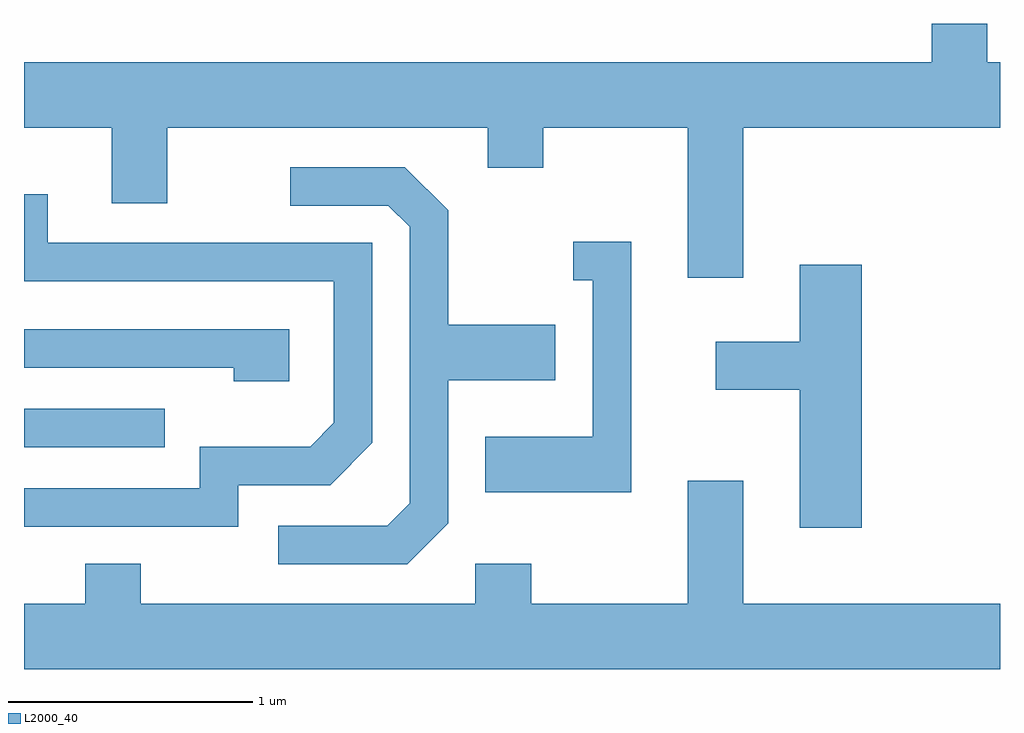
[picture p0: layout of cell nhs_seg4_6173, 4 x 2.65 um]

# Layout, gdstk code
import gdstk
lib = gdstk.Library(unit=1e-6, precision=1e-09)
def R(c, l, rs):  # rectangles x0, y0, x1, y1
    for r in rs: c.add(gdstk.rectangle(r[:2], r[2:], *l))
def P(c, l, *ps):  # polygons
    for p in ps: c.add(gdstk.Polygon(p, *l))
L2000_40 = (2000, 40)

nhs_seg4_6173 = lib.new_cell('nhs_seg4_6173')
R(nhs_seg4_6173, L2000_40, [(365.611,1362.246,366.188,1362.404)])
P(nhs_seg4_6173, L2000_40, [(368.559,1363.556),(369.611,1363.556),(369.611,1363.824),(369.559,1363.824),(369.559,1363.982),(369.331,1363.982),(369.331,1363.824),(365.611,1363.824),(365.611,1363.556),(365.971,1363.556),(365.971,1363.246),(366.199,1363.246),(366.199,1363.556),(367.511,1363.556),(367.511,1363.391),(367.739,1363.391),(367.739,1363.556),(368.331,1363.556),(368.331,1362.941),(368.559,1362.941)],
  [(367.349,1361.934),(367.349,1362.521),(367.789,1362.521),(367.789,1362.749),(367.349,1362.749),(367.349,1363.217),(367.172,1363.394),(366.703,1363.394),(366.703,1363.236),(367.104,1363.236),(367.191,1363.149),(367.191,1362.017),(367.099,1361.924),(366.653,1361.924),(366.653,1361.766),(367.182,1361.766)],
  [(366.489,1362.091),(366.867,1362.091),(367.039,1362.264),(367.039,1363.084),(365.709,1363.084),(365.709,1363.283),(365.611,1363.283),(365.611,1362.926),(366.881,1362.926),(366.881,1362.347),(366.784,1362.249),(366.331,1362.249),(366.331,1362.079),(365.611,1362.079),(365.611,1361.921),(366.489,1361.921)],
  [(368.099,1363.089),(367.863,1363.089),(367.863,1362.931),(367.941,1362.931),(367.941,1362.289),(367.501,1362.289),(367.501,1362.061),(368.099,1362.061)],
  [(369.044,1362.994),(368.791,1362.994),(368.791,1362.679),(368.446,1362.679),(368.446,1362.481),(368.791,1362.481),(368.791,1361.916),(369.044,1361.916)],
  [(366.699,1362.729),(365.611,1362.729),(365.611,1362.571),(366.471,1362.571),(366.471,1362.516),(366.699,1362.516)],
  [(369.611,1361.604),(368.559,1361.604),(368.559,1362.109),(368.331,1362.109),(368.331,1361.604),(367.689,1361.604),(367.689,1361.769),(367.461,1361.769),(367.461,1361.604),(366.089,1361.604),(366.089,1361.769),(365.861,1361.769),(365.861,1361.604),(365.611,1361.604),(365.611,1361.336),(369.611,1361.336)])

lib.write_gds('nhs_seg4_6173.gds')
